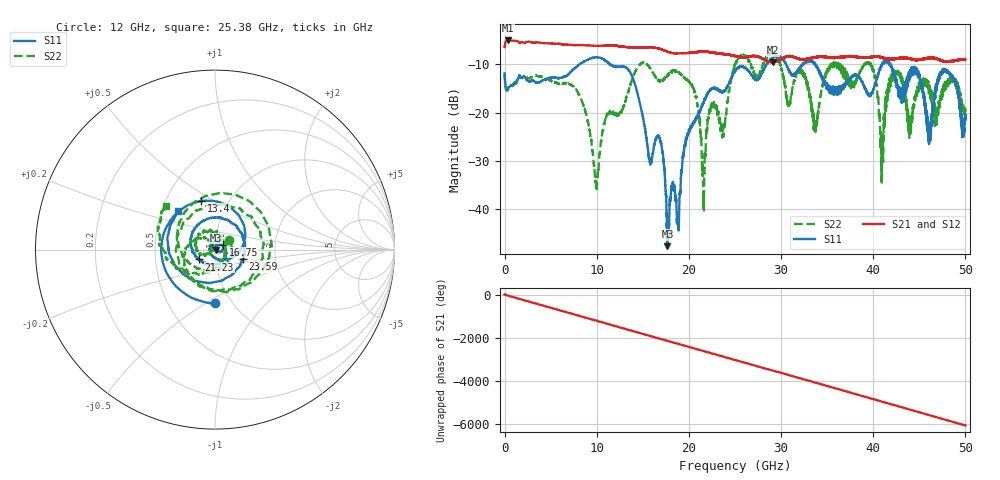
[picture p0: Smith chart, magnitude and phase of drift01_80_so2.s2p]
!Created with skrf (http://scikit-rf.org).
# Hz S RI R 50.0
!freq ReS11 ImS11 ReS21 ImS21 ReS12 ImS12 ReS22 ImS22
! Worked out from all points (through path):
!   10001 points, 300 kHz to 50 GHz, reference 50 ohm
!   highest |S21| = -5.05 dB at 330.3 MHz (marker M1); lowest = -9.6 dB at 29.12 GHz (marker M2)
!   group delay of S21, straight-line fit = 336 ps
!   lowest |S11| = -47.7 dB at 17.67 GHz (marker M3), VSWR 1.01, Z = 50.4 - j0.191 ohm
!   |S11| at or under -10 dB: start of sweep to 8.151 GHz; 11.43 GHz to 28.41 GHz (16.99 GHz wide, 85.3 % of centre); 41.86 GHz to end of sweep (the widest 3 of 14)
!   |S22| runs from -40.5 to -7.6 dB; largest |S21 - S12| = 0.014
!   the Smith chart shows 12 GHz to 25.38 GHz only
!   S11 on the Smith chart (normalised r, x): 12 GHz: 0.84, -0.55; 13.4 GHz: 0.75, +0.44; 16.75 GHz: 1.10, +0.06; 21.23 GHz: 0.83, -0.09; 23.59 GHz: 1.36, -0.14; 25.38 GHz: 0.61, +0.29
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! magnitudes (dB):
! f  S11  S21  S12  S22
! 300 kHz  -11.9  -6.4  -6.5  -11.8
! 330.3 MHz  -14.9  -5.1  -5.1  -15.3
! 8.335 GHz  -9.7  -6.0  -6.0  -17.4
! 9.95 GHz  -8.5  -6.2  -6.2  -35.0
! 12 GHz  -10.5  -6.1  -6.1  -20.5
! 13.4 GHz  -11.0  -6.4  -6.5  -15.7
! 15.76 GHz  -30.1  -6.5  -6.5  -10.7
! 16.67 GHz  -24.8  -6.7  -6.7  -13.3
! 16.75 GHz  -25.3  -6.8  -6.7  -13.3
! 17.67 GHz  -47.7  -7.4  -7.4  -12.4
! 21.23 GHz  -19.6  -7.4  -7.4  -23.7
! 21.59 GHz  -18.0  -7.4  -7.4  -38.4
! 22.45 GHz  -15.1  -7.5  -7.5  -19.0
! 23.59 GHz  -15.8  -7.8  -7.8  -24.7
! 25 GHz  -11.4  -8.3  -8.3  -10.2
! 25.38 GHz  -10.6  -8.5  -8.4  -8.8
! 29.12 GHz  -8.6  -9.6  -9.6  -7.7
! 33.34 GHz  -9.4  -8.7  -8.7  -19.1
! 39.49 GHz  -16.3  -8.5  -8.5  -9.7
! 40.97 GHz  -10.1  -8.6  -8.6  -27.3
! 41.67 GHz  -9.5  -8.7  -8.9  -14.0
! 50 GHz  -21.5  -9.0  -9.0  -20.2
